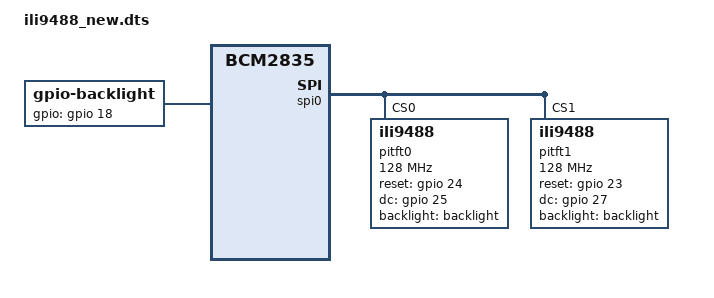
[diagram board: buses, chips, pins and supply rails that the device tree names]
/*
 * Device Tree overlay for ILI-9488
 *
 */

/dts-v1/;
/plugin/;

/ {
	compatible = "brcm,bcm2835";

	fragment@0 {
		target = <&spi0>;
		__overlay__ {
			status = "okay";
		};
	};

	fragment@1 {
		target = <&spidev0>;
		__overlay__ {
			status = "disabled";
		};
	};

	fragment@2 {
		target = <&gpio>;
		__overlay__ {
			pitft_pins: pitft_pins {
				brcm,pins = <24 25 18>;
				brcm,function = <1 1 1>; /* out out out */
			};
		};
	};

	fragment@3 {
		target = <&spi0>;
		__overlay__ {
			#address-cells = <1>;
			#size-cells = <0>;

			pitft0: pitft@0 {
				compatible = "ili9488";
				pinctrl-names = "default";
				pinctrl-0 = <&pitft_pins>;

				reg = <0>;  /* CE0: Chip Select for LCD_0 */
				spi-max-frequency = <128000000>;

				rotation = <0>;
				reset-gpios = <&gpio 24 0>; /* LCD_0 RESET */
				dc-gpios = <&gpio 25 0>;    /* LCD_0 DC */
				backlight = <&backlight>;
			};

			pitft1: pitft@1 {
				compatible = "ili9488";
				pinctrl-names = "default";
				pinctrl-0 = <&pitft_pins>;

				reg = <1>;  /* CE1: Chip Select for LCD_1 */
				spi-max-frequency = <128000000>;

				rotation = <0>;
				reset-gpios = <&gpio 23 0>; /* LCD_1 RESET */
				dc-gpios = <&gpio 27 0>;    /* LCD_1 DC */
				backlight = <&backlight>;
			};
		};
	};

	fragment@4 {
		target-path = "/soc";
		__overlay__ {
			backlight: backlight {
				compatible = "gpio-backlight";
				gpios = <&gpio 18 0>;
			};
		};
	};

	__overrides__ {
		speed = <&pitft>,"spi-max-frequency:0";
		rotation = <&pitft>,"rotation:0";
	};
};
